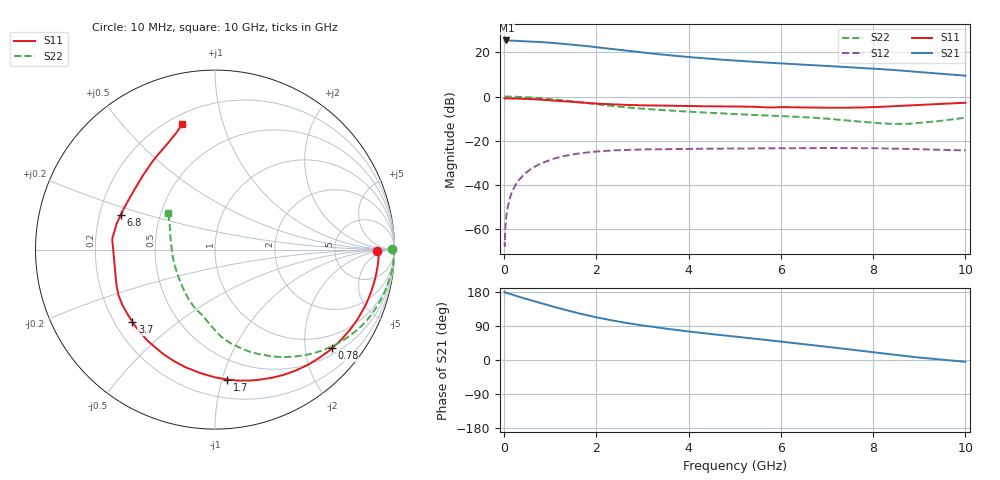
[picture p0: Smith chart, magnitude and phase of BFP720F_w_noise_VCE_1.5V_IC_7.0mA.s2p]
! Infineon Technologies  Discrete & RF Semiconductors
! BFP720F
! VCE =  1.5 V,  IC =  7.0 mA
! Common Emitter S-Parameters:  Jan 2016
# GHz  S  MA  R  50
!  f  S11  S21  S12  S22
! GHz  MAG  ANG  MAG  ANG  MAG  ANG  MAG  ANG
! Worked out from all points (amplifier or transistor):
!   233 points, 10 MHz to 10 GHz, reference 50 ohm
!   highest |S21| = 25.5 dB at 50 MHz (marker M1)
!   |S21| within 3 dB of that: start of sweep to 1.976 GHz
!   unconditionally stable (mu >= 1): start of sweep to 12.07 MHz; 7.403 GHz to end of sweep
!   at 200 MHz: K = 0.04, MSG = 33.7 dB, |S12| = -42.0 dB
!   at 1.74 GHz: K = 0.25, MSG = 24.3 dB, |S12| = -25.5 dB
!   at 10 GHz: K = 1.29, MAG = 13.7 dB, |S12| = -24.5 dB
!   lowest NFmin = 0.48 dB at 450 MHz
!   S11 on the Smith chart (normalised r, x): 10 MHz: 20, -1; 780 MHz: 0.64, -2.59; 1.7 GHz: 0.34, -1.04; 3.7 GHz: 0.27, -0.35; 6.8 GHz: 0.29, +0.17; 10 GHz: 0.25, +0.74
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0.01  0.9042 -0.4  18.75 179.7  0.0005 -19.4  0.9838 0.3
0.015  0.9091 -0.7  18.66 178.7  0.0004 55.2  0.9911 -0.5
0.02  0.9141 -0.9  18.57 177.7  0.0008 92.3  0.9986 -1.3
0.05  0.9126 -2.7  18.77 177.5  0.0021 87.5  0.9962 -1.8
0.16  0.9086 -8.3  18.6 172.9  0.0064 85.7  0.9942 -5.7
0.36  0.8965 -18.6  18.15 165.3  0.0142 78.9  0.9784 -12.8
0.78  0.8525 -40.2  17.29 150.4  0.0295 65.9  0.9226 -27.0
1  0.8244 -51.3  16.66 142.9  0.0365 59.4  0.8811 -34.3
1.2  0.7964 -61.1  16 136.3  0.042 53.9  0.8395 -40.6
1.4  0.7684 -70.6  15.32 130.0  0.0468 48.7  0.7961 -46.5
1.68  0.7293 -83.7  14.4 121.4  0.0521 41.9  0.7336 -54.4
1.7  0.727 -84.6  14.32 120.8  0.0524 41.4  0.7292 -55.0
2.18  0.6775 -103.2  12.53 108.2  0.0583 31.8  0.6377 -66.4
2.6  0.6492 -116.4  11.12 98.8  0.0612 25.0  0.5746 -74.5
3  0.6319 -126.5  9.98 91.1  0.0628 20.2  0.5294 -80.5
3.4  0.6185 -134.0  9.026 84.6  0.0637 16.3  0.4948 -84.7
3.7  0.6112 -138.8  8.42 79.9  0.0643 13.7  0.4726 -87.4
4.5  0.6011 -149.4  7.147 68.3  0.0655 8.2  0.4253 -92.9
5.1  0.5916 -156.1  6.451 60.5  0.0663 4.7  0.3958 -97.0
6.8  0.5592 159.6  5.082 37.6  0.0676 -4.4  0.3244 -114.5
8.4  0.6008 125.6  4.033 14.7  0.0659 -13.0  0.2407 -160.6
10  0.7225 104.6  2.976 -4.7  0.0598 -17.3  0.331 141.7
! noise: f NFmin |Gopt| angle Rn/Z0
0.45  0.48  0.4  3  0.2
0.9  0.5  0.38  9  0.16
1.8  0.54  0.35  18  0.15
2.4  0.57  0.33  28  0.13
5.5  0.74  0.31  57  0.09
10  0.96  0.26  -100  0.16
